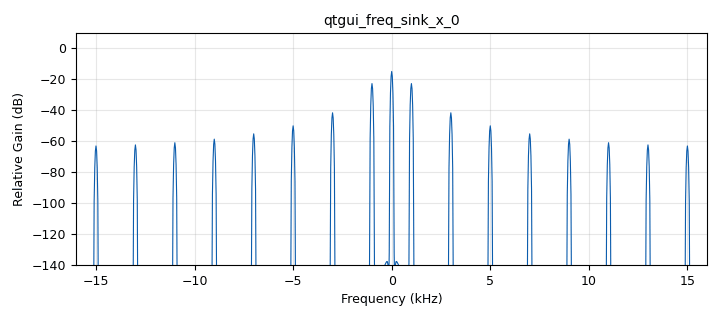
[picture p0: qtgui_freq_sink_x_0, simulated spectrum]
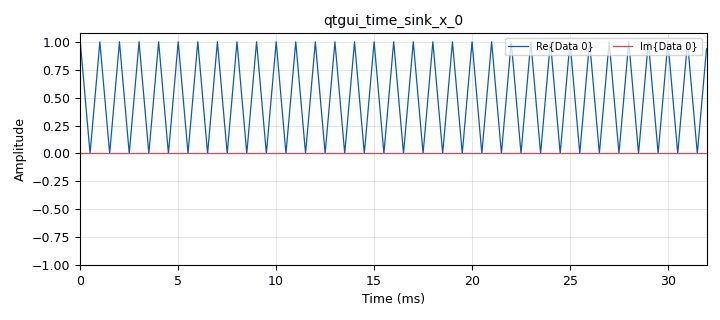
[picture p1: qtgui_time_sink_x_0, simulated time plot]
options:
  parameters:
    author: labcom
    generate_options: qt_gui
    id: punto_USRP
    output_language: python
    title: Not titled yet
  states: {}

blocks:
- name: A
  id: variable_qtgui_range
  parameters:
    label: Amplitud señal
    start: '0'
    step: '1e-4'
    stop: '1'
    value: '1'
  states: {}
- name: GTX
  id: variable_qtgui_range
  parameters:
    label: Ganancia de TX
    start: '0'
    step: '1'
    stop: '30'
    value: '0'
  states: {}
- name: fc
  id: variable_qtgui_range
  parameters:
    label: Frecuencia portadora
    start: 50e6
    step: 1e6
    stop: 2.2e9
    value: 50e6
  states: {}
- name: fm
  id: variable_qtgui_range
  parameters:
    label: frecuencia señal
    start: '0'
    step: '100'
    stop: 1e4
    value: '1000'
  states: {}
- name: samp_rate
  id: variable
  parameters:
    value: '32000'
  states: {}
- name: analog_sig_source_x_0
  id: analog_sig_source_x
  parameters:
    amp: A
    freq: fm
    offset: '0'
    phase: '0'
    samp_rate: samp_rate
    type: float
    waveform: analog.GR_TRI_WAVE
  states: {}
- name: blocks_float_to_complex_0
  id: blocks_float_to_complex
  parameters: {}
  states: {}
- name: lab2_punto1_0
  id: lab2_punto1
  parameters:
    I_vect: '1024'
  states: {}
- name: qtgui_freq_sink_x_0
  id: qtgui_freq_sink_x
  parameters:
    bw: samp_rate
    fc: '0'
    fftsize: '1024'
    type: complex
  states: {}
- name: qtgui_time_sink_x_0
  id: qtgui_time_sink_x
  parameters:
    size: '1024'
    srate: samp_rate
    type: complex
  states: {}
- name: uhd_usrp_sink_0
  id: uhd_usrp_sink
  parameters:
    ant0: '"TX/RX"'
    center_freq0: fc
    gain0: GTX
    samp_rate: samp_rate
    sync: pc_clock
    type: fc32
  states: {}

connections:
- [analog_sig_source_x_0, '0', blocks_float_to_complex_0, '0']
- [analog_sig_source_x_0, '0', lab2_punto1_0, '0']
- [blocks_float_to_complex_0, '0', qtgui_freq_sink_x_0, '0']
- [blocks_float_to_complex_0, '0', qtgui_time_sink_x_0, '0']
- [blocks_float_to_complex_0, '0', uhd_usrp_sink_0, '0']

metadata:
  file_format: 1
  grc_version: 3.10.5.1
